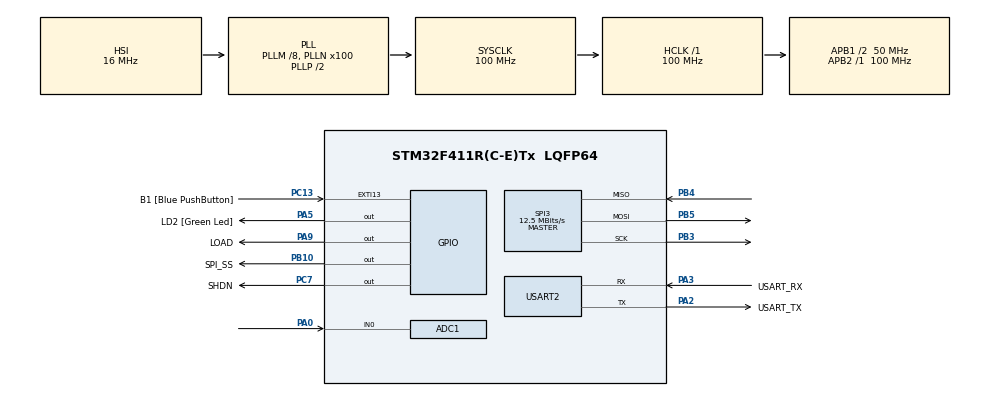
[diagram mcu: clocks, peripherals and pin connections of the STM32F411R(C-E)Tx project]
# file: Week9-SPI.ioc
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ADC1.Channel-2\#ChannelRegularConversion=ADC_CHANNEL_0
ADC1.DMAContinuousRequests=ENABLE
ADC1.ExternalTrigConv=ADC_EXTERNALTRIGCONV_T3_TRGO
ADC1.InjNumberOfConversion=0
ADC1.NbrOfConversionFlag=1
ADC1.Rank-2\#ChannelRegularConversion=1
ADC1.SamplingTime-2\#ChannelRegularConversion=ADC_SAMPLETIME_3CYCLES
ADC1.ScanConvMode=ENABLE
ADC1.master=1
Dma.ADC1.0.Direction=DMA_PERIPH_TO_MEMORY
Dma.ADC1.0.FIFOMode=DMA_FIFOMODE_DISABLE
Dma.ADC1.0.Instance=DMA2_Stream0
Dma.ADC1.0.MemDataAlignment=DMA_MDATAALIGN_HALFWORD
Dma.ADC1.0.MemInc=DMA_MINC_ENABLE
Dma.ADC1.0.Mode=DMA_CIRCULAR
Dma.ADC1.0.PeriphDataAlignment=DMA_PDATAALIGN_HALFWORD
Dma.ADC1.0.PeriphInc=DMA_PINC_DISABLE
Dma.ADC1.0.Priority=DMA_PRIORITY_LOW
Dma.Request0=ADC1
Mcu.Family=STM32F4
Mcu.Name=STM32F411R(C-E)Tx
Mcu.Package=LQFP64
NVIC.ADC_IRQn=true\:0\:0\:false\:false\:true\:true\:true
NVIC.DMA2_Stream0_IRQn=true\:0\:0\:false\:false\:true\:false\:true
NVIC.PriorityGroup=NVIC_PRIORITYGROUP_0
NVIC.SPI3_IRQn=true\:0\:0\:false\:false\:true\:true\:true
NVIC.TIM2_IRQn=true\:0\:0\:false\:false\:true\:true\:true
NVIC.USART2_IRQn=true\:0\:0\:false\:false\:true\:true\:true
PA0-WKUP.Signal=ADCx_IN0
PA13.GPIO_Label=TMS
PA13.Mode=Serial_Wire
PA13.Signal=SYS_JTMS-SWDIO
PA14.GPIO_Label=TCK
PA14.Mode=Serial_Wire
PA14.Signal=SYS_JTCK-SWCLK
PA2.GPIO_Label=USART_TX
PA2.Mode=Asynchronous
PA2.Signal=USART2_TX
PA3.GPIO_Label=USART_RX
PA3.Mode=Asynchronous
PA3.Signal=USART2_RX
PA5.GPIO_Label=LD2 [Green Led]
PA5.Signal=GPIO_Output
PA9.GPIO_Label=LOAD
PA9.PinState=GPIO_PIN_SET
PA9.Signal=GPIO_Output
PB10.GPIO_Label=SPI_SS
PB10.PinState=GPIO_PIN_SET
PB10.Signal=GPIO_Output
PB3.Mode=Full_Duplex_Master
PB3.Signal=SPI3_SCK
PB4.Mode=Full_Duplex_Master
PB4.Signal=SPI3_MISO
PB5.Mode=Full_Duplex_Master
PB5.Signal=SPI3_MOSI
PC13-ANTI_TAMP.GPIO_Label=B1 [Blue PushButton]
PC13-ANTI_TAMP.GPIO_ModeDefaultEXTI=GPIO_MODE_IT_FALLING
PC13-ANTI_TAMP.Signal=GPXTI13
PC14-OSC32_IN.Mode=LSE-External-Oscillator
PC14-OSC32_IN.Signal=RCC_OSC32_IN
PC15-OSC32_OUT.Mode=LSE-External-Oscillator
PC15-OSC32_OUT.Signal=RCC_OSC32_OUT
PC7.GPIO_Label=SHDN
PC7.PinState=GPIO_PIN_SET
PC7.Signal=GPIO_Output
PH0\ -\ OSC_IN.Mode=HSE-External-Clock-Source
PH0\ -\ OSC_IN.Signal=RCC_OSC_IN
PH1\ -\ OSC_OUT.Mode=HSE-External-Clock-Source
PH1\ -\ OSC_OUT.Signal=RCC_OSC_OUT
ProjectManager.HeapSize=0x200
ProjectManager.StackSize=0x400
ProjectManager.TargetToolchain=STM32CubeIDE
RCC.48MHZClocksFreq_Value=50000000
RCC.AHBFreq_Value=100000000
RCC.APB1CLKDivider=RCC_HCLK_DIV2
RCC.APB1Freq_Value=50000000
RCC.APB1TimFreq_Value=100000000
RCC.APB2Freq_Value=100000000
RCC.APB2TimFreq_Value=100000000
RCC.CortexFreq_Value=100000000
RCC.FLatency-AdvancedSettings=FLASH_LATENCY_3
RCC.HCLKFreq_Value=100000000
RCC.HSE_VALUE=8000000
RCC.HSI_VALUE=16000000
RCC.PLLM=8
RCC.PLLN=100
RCC.SYSCLKFreq_VALUE=100000000
RCC.SYSCLKSource=RCC_SYSCLKSOURCE_PLLCLK
RCC.VCOOutputFreq_Value=200000000
SH.ADCx_IN0.0=ADC1_IN0,IN0
SPI3.BaudRatePrescaler=SPI_BAUDRATEPRESCALER_4
SPI3.CalculateBaudRate=12.5 MBits/s
SPI3.DataSize=SPI_DATASIZE_16BIT
SPI3.Direction=SPI_DIRECTION_2LINES
SPI3.Mode=SPI_MODE_MASTER
SPI3.VirtualType=VM_MASTER
TIM2.Prescaler=99
TIM3.Period=100
TIM3.Prescaler=99
TIM3.TIM_MasterOutputTrigger=TIM_TRGO_UPDATE
USART2.VirtualMode=VM_ASYNC
VP_TIM2_VS_ClockSourceINT.Mode=Internal
VP_TIM3_VS_ClockSourceINT.Mode=Internal
board=NUCLEO-F411RE

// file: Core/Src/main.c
/* USER CODE BEGIN Header */
/**
 ******************************************************************************
 * @file           : main.c
 * @brief          : Main program body
 ******************************************************************************
 * @attention
 *
 * <h2><center>&copy; Copyright (c) 2021 STMicroelectronics.
 * All rights reserved.</center></h2>
 *
 * This software component is licensed by ST under BSD 3-Clause license,
 * the "License"; You may not use this file except in compliance with the
 * License. You may obtain a copy of the License at:
 *                        opensource.org/licenses/BSD-3-Clause
 *
 ******************************************************************************
 */
/* USER CODE END Header */
#include "main.h"

/* USER CODE BEGIN Includes */
#include <math.h>
#include <stdio.h>
#include <string.h>
/* USER CODE END Includes */

ADC_HandleTypeDef hadc1;
DMA_HandleTypeDef hdma_adc1;

SPI_HandleTypeDef hspi3;

TIM_HandleTypeDef htim2;
TIM_HandleTypeDef htim3;

UART_HandleTypeDef huart2;

/* USER CODE BEGIN PV */
char TxDataBuffer[32] = { 0 };
char RxDataBuffer[32] = { 0 };
int16_t Inputchar = 0;
int Waveform = 0;
float Wavefreq = 1;
float Wavehighvolt = 3.3;
float Wavelowvolt = 0.0;
int Waveduty = 50;
int slope = 0;
float VoltageOut = 0;
float VoltageIn = 0;
double Sineangle = 0;
uint16_t State = 0000;
uint16_t ADCin = 0;
uint64_t _micro = 0;
uint16_t dataOut = 0;
	uint8_t DACConfig = 0b0011;
char Menu_Start[] = "1: Sawtooth wave\r\n2: Sine wave\r\n3: Square wave\r\n";
char Menu_Sawtooth[] = "a: Freq\r\ns: Voltage\r\nd: Slope\r\nx: back\r\n";
char Menu_Sine[] = "a: Freq\r\ns: Voltage\r\nx: back\r\n";
char Menu_Square[] = "a: Freq\r\ns: Voltage\r\nd:Duty cyclex: back\r\n";
char Menu_Freq[] = "a:+0.1 Hz\r\ns:-0.1Hz\r\nx:back\r\n";
char Menu_Volt[] = "a:V High+0.1\r\ns:V high-0.1\r\nd:V Low+0.1\r\nf:V low-0.1\r\nx:back\r\n";
char Menu_Slope[] = "a:Slope Up\r\ns:Slope Down\r\nx:back\r\n";
char Menu_Duty[] = "a:Duty cycle +10%\r\ns:Duty cycle -10%\r\nx:back\r\n";
char Wave_Freq[20] = "";
char Wave_Volt[30] = "";
char Wave_Duty[30] = "";
char Wave_Slope[20] = "";
enum State_now
{
	State_Start = 0000,
	State_Menu = 0001,
	State_Sawtooth = 0010,
	State_Sine = 0011,
	State_Square = 0100,
	State_Freq = 0101,
	State_Volt = 0111,
	State_Slope = 0110,
	State_Duty = 1110,
	State_Sawtooth_Menu = 1010,
	State_Sine_Menu = 1000,
	State_Square_Menu = 1001,
	State_Freq_Menu = 1011,
	State_Volt_Menu = 1111,
	State_Slope_Menu = 1101,
	State_Duty_Menu = 1100,
};
/* USER CODE END PV */

void SystemClock_Config(void);
static void MX_GPIO_Init(void);
static void MX_DMA_Init(void);
static void MX_USART2_UART_Init(void);
static void MX_ADC1_Init(void);
static void MX_SPI3_Init(void);
static void MX_TIM3_Init(void);
static void MX_TIM2_Init(void);
/* USER CODE BEGIN PFP */
int16_t UARTRecieveIT();
void MCP4922SetOutput(uint8_t Config, uint16_t DACOutput);
uint64_t micros();
/* USER CODE END PFP */

int main(void)
{

  /* MCU Configuration--------------------------------------------------------*/

  /* Reset of all peripherals, Initializes the Flash interface and the Systick. */
  HAL_Init();

  /* Configure the system clock */
  SystemClock_Config();

  /* Initialize all configured peripherals */
  MX_GPIO_Init();
  MX_DMA_Init();
  MX_USART2_UART_Init();
  MX_ADC1_Init();
  MX_SPI3_Init();
  MX_TIM3_Init();
  MX_TIM2_Init();
  /* USER CODE BEGIN 2 */
	HAL_TIM_Base_Start(&htim3);
	HAL_TIM_Base_Start_IT(&htim2);
	HAL_ADC_Start_DMA(&hadc1, (uint32_t*) &ADCin, 1);

	HAL_GPIO_WritePin(LOAD_GPIO_Port, LOAD_Pin, GPIO_PIN_RESET);
  /* USER CODE END 2 */

  /* Infinite loop */
  /* USER CODE BEGIN WHILE */
	while (1)
	{
		HAL_UART_Receive_IT(&huart2, (uint8_t*)RxDataBuffer, 32);
		Inputchar = UARTRecieveIT();
		switch(State)
		{
			case State_Start: //Start state
				HAL_UART_Transmit(&huart2, (uint8_t*)Menu_Start, strlen(Menu_Start), 10);
				State = State_Menu;
				break;
			case State_Menu: //Choose menu
				if(Inputchar == '1')
				{
					State = State_Sawtooth;
				}
				else if(Inputchar == '2')
				{
					State = State_Sine;
				}
				else if(Inputchar == '3')
				{
					State = State_Square;
				}
				break;
			case State_Sawtooth: //Sawtooth menu
				HAL_UART_Transmit(&huart2, (uint8_t*)Menu_Sawtooth, strlen(Menu_Sawtooth), 10);
				State = State_Sawtooth_Menu;
				break;
			case State_Sawtooth_Menu: //Sawtooth control
				Waveform = 1;
				if(Inputchar == 'a')
				{
					State = State_Freq;
				}
				else if(Inputchar == 's')
				{
					State = State_Volt;
				}
				else if(Inputchar == 'd')
				{
					State = State_Slope;
				}
				else if(Inputchar == 'x')
				{
					State = State_Start;
				}
				break;
			case State_Sine: // Button menu
				HAL_UART_Transmit(&huart2, (uint8_t*)Menu_Sine, strlen(Menu_Sine), 10);
				State = State_Sine_Menu;
				break;
			case State_Sine_Menu: //Button status
				Waveform = 2;
				if(Inputchar == 'a')
				{
					State = State_Freq;
				}
				else if(Inputchar == 's')
				{
					State = State_Volt;
				}
				else if(Inputchar == 'x')
				{
					State = State_Start;
				}
				break;
			case State_Square:
				HAL_UART_Transmit(&huart2, (uint8_t*)Menu_Square, strlen(Menu_Square), 10);
				State = State_Square_Menu;
				break;
			case State_Square_Menu: //Button status
				Waveform = 3;
				if(Inputchar == 'a')
				{
					State = State_Freq;
				}
				else if(Inputchar == 's')
				{
					State = State_Volt;
				}
				else if(Inputchar == 'd')
				{
					State = State_Duty;
				}
				else if(Inputchar == 'x')
				{
				State = State_Start;
				}
				break;
			case State_Freq:
				HAL_UART_Transmit(&huart2, (uint8_t*)Menu_Freq, strlen(Menu_Freq), 10);
				State = State_Freq_Menu;
				break;
			case State_Freq_Menu:
				if(Inputchar == 'a')
				{
					Wavefreq += 0.1;
					if(Wavefreq > 10)
					{
						Wavefreq = 10;
					}
					sprintf(Wave_Freq,"Frequency: %f\r\n",Wavefreq);
					HAL_UART_Transmit(&huart2, (uint8_t*)Wave_Freq, strlen(Wave_Freq), 10);
					State = State_Freq;
				}
				else if(Inputchar == 's')
				{
					Wavefreq -= 0.1;
					if(Wavefreq <= 0)
					{
						Wavefreq = 0;
					}
					sprintf(Wave_Freq,"Frequency: %f\r\n",Wavefreq);
					HAL_UART_Transmit(&huart2, (uint8_t*)Wave_Freq, strlen(Wave_Freq), 10);
					State = State_Freq;
				}
				else if(Inputchar == 'x')
				{
					if(Waveform == 1)
					{
						State = State_Sawtooth;
					}
					else if(Waveform == 2)
					{
						State = State_Sine;
					}
					else if(Waveform == 3)
					{
						State = State_Square;
					}
				}
				break;
			case State_Volt:
				HAL_UART_Transmit(&huart2, (uint8_t*)Menu_Volt, strlen(Menu_Volt), 10);
				State = State_Volt_Menu;
				break;
			case State_Volt_Menu:
				if(Inputchar == 'a')
				{
					Wavehighvolt += 0.1;
					if(Wavehighvolt > 3.3)
					{
						Wavehighvolt = 3.3;
					}
					sprintf(Wave_Volt,"Hvolt:%fV | Lvolt:%fV\r\n",Wavehighvolt,Wavelowvolt);
					HAL_UART_Transmit(&huart2, (uint8_t*)Wave_Volt, strlen(Wave_Volt), 10);
					State = State_Volt;
				}
				else if(Inputchar == 's')
				{
					Wavehighvolt -= 0.1;
					if(Wavehighvolt <= 0)
					{
						Wavehighvolt = 0;
					}
					sprintf(Wave_Volt,"Hvolt:%fV | Lvolt:%fV\r\n",Wavehighvolt,Wavelowvolt);
					HAL_UART_Transmit(&huart2, (uint8_t*)Wave_Volt, strlen(Wave_Volt), 10);
					State = State_Volt;
				}
				else if(Inputchar == 'd')
				{
					Wavelowvolt += 0.1;
					if(Wavelowvolt > 3.3)
					{
						Wavelowvolt = 3.3;
					}
					sprintf(Wave_Volt,"Hvolt:%fV | Lvolt:%fV\r\n",Wavehighvolt,Wavelowvolt);
					HAL_UART_Transmit(&huart2, (uint8_t*)Wave_Volt, strlen(Wave_Volt), 10);
					State = State_Volt;
				}
				else if(Inputchar == 'f')
				{
					Wavelowvolt -= 0.1;
					if(Wavelowvolt <= 0)
					{
						Wavelowvolt = 0;
					}
					sprintf(Wave_Volt,"Hvolt:%fV | Lvolt:%fV\r\n",Wavehighvolt,Wavelowvolt);
					HAL_UART_Transmit(&huart2, (uint8_t*)Wave_Volt, strlen(Wave_Volt), 10);
					State = State_Volt;
				}
				else if(Inputchar == 'x')
				{
					if(Waveform == 1)
					{
						State = State_Sawtooth;
					}
					else if(Waveform == 2)
					{
						State = State_Sine;
					}
					else if(Waveform == 3)
					{
						State = State_Square;
					}
				}
				break;
			case State_Slope:
				HAL_UART_Transmit(&huart2, (uint8_t*)Menu_Slope, strlen(Menu_Slope), 10);
				State = State_Slope_Menu;
				break;
			case State_Slope_Menu:
				if(Inputchar == 'a')
				{
					slope = 0;
					sprintf(Wave_Slope,"Slope Up\r\n");
					HAL_UART_Transmit(&huart2, (uint8_t*)Wave_Slope, strlen(Wave_Slope), 10);
					State = State_Slope;
				}
				else if(Inputchar == 's')
				{
					slope = 1;
					sprintf(Wave_Slope,"Slope Down\r\n");
					HAL_UART_Transmit(&huart2, (uint8_t*)Wave_Slope, strlen(Wave_Slope), 10);
					State = State_Slope;
				}
				else if(Inputchar == 'x')
				{
					State = State_Sawtooth;
				}
				break;
			case State_Duty:
				HAL_UART_Transmit(&huart2, (uint8_t*)Menu_Duty, strlen(Menu_Duty), 10);
				State = State_Duty_Menu;
				break;
			case State_Duty_Menu:
				if(Inputchar == 'a')
				{
					Waveduty += 10;
					if(Waveduty > 100)
					{
						Waveduty = 100;
					}
					sprintf(Wave_Duty,"Duty Cycle:%d % \r\n",Waveduty);
					HAL_UART_Transmit(&huart2, (uint8_t*)Wave_Duty, strlen(Wave_Duty), 10);
					State = State_Duty;
				}
				else if(Inputchar == 's')
				{
					Waveduty -= 10;
					if(Waveduty <= 0)
					{
						Waveduty = 0;
					}
					sprintf(Wave_Duty,"Duty Cycle:%d % \r\n",Waveduty);
					HAL_UART_Transmit(&huart2, (uint8_t*)Wave_Duty, strlen(Wave_Duty), 10);
					State = State_Duty;
					}
				else if(Inputchar == 'x')
				{
					State = State_Square;
				}
				break;
		}

		static uint64_t timestamp = 0;
		static uint64_t timestamp_wave = 0;

		if(micros() - timestamp > 100)
		{
			if(Waveform == 1) //sawtooth
			{
				if(slope == 0) //up
				{
					if(micros() - timestamp_wave <= (1000000/Wavefreq))
					{
						VoltageOut = Wavelowvolt + ((Wavehighvolt - Wavelowvolt)*((micros()-timestamp_wave)/(1000000/Wavefreq)));
					}
					else if(micros() - timestamp_wave > (1000000/Wavefreq))
					{
						timestamp_wave = micros();
					}
				}
				else if(slope == 1) //down
				{
					if(micros() - timestamp_wave <= (1000000/Wavefreq))
					{
						VoltageOut = Wavehighvolt - ((Wavehighvolt - Wavelowvolt)*((micros()-timestamp_wave)/(1000000/Wavefreq)));
					}
					else if(micros() - timestamp_wave > (1000000/Wavefreq))
					{
						timestamp_wave = micros();
					}
				}
			}
			else if(Waveform == 2) //sine
			{
				if(micros() - timestamp_wave <= (1000000/Wavefreq))
				{
					Sineangle = ((micros() - timestamp_wave)/(1000000/Wavefreq))*2*3.14;
					VoltageOut = Wavelowvolt + ((sin(Sineangle)+1)*(Wavehighvolt-Wavelowvolt)/2);
				}
				else if(micros() - timestamp_wave > (1000000/Wavefreq))
				{
					timestamp_wave = micros();
				}
			}
			else if(Waveform == 3) //square
			{

				if(micros() - timestamp_wave <= (1000000/Wavefreq))
				{
					if(micros() - timestamp_wave <= (1000000/Wavefreq)*Waveduty/100)
					{
						VoltageOut = Wavehighvolt;
					}
					else if(micros() - timestamp_wave > (1000000/Wavefreq)*Waveduty/100)
					{
						VoltageOut = Wavelowvolt;
					}
				}
				else if(micros() - timestamp_wave > (1000000/Wavefreq))
				{
					timestamp_wave = micros();
				}
			}
			dataOut = (int)(VoltageOut*4096/3.3); //0-4095
			timestamp = micros();
			if (hspi3.State == HAL_SPI_STATE_READY && HAL_GPIO_ReadPin(SPI_SS_GPIO_Port, SPI_SS_Pin)== GPIO_PIN_SET)
			{
				MCP4922SetOutput(DACConfig, dataOut);
			}
		}

		VoltageIn = ADCin * 3.3 / 4096; //0 - 3.3

    /* USER CODE END WHILE */

	}
}

void SystemClock_Config(void)
{
  RCC_OscInitTypeDef RCC_OscInitStruct = {0};
  RCC_ClkInitTypeDef RCC_ClkInitStruct = {0};

  /** Configure the main internal regulator output voltage
  */
  __HAL_RCC_PWR_CLK_ENABLE();
  __HAL_PWR_VOLTAGESCALING_CONFIG(PWR_REGULATOR_VOLTAGE_SCALE1);
  /** Initializes the RCC Oscillators according to the specified parameters
  * in the RCC_OscInitTypeDef structure.
  */
  RCC_OscInitStruct.OscillatorType = RCC_OSCILLATORTYPE_HSI;
  RCC_OscInitStruct.HSIState = RCC_HSI_ON;
  RCC_OscInitStruct.HSICalibrationValue = RCC_HSICALIBRATION_DEFAULT;
  RCC_OscInitStruct.PLL.PLLState = RCC_PLL_ON;
  RCC_OscInitStruct.PLL.PLLSource = RCC_PLLSOURCE_HSI;
  RCC_OscInitStruct.PLL.PLLM = 8;
  RCC_OscInitStruct.PLL.PLLN = 100;
  RCC_OscInitStruct.PLL.PLLP = RCC_PLLP_DIV2;
  RCC_OscInitStruct.PLL.PLLQ = 4;
  if (HAL_RCC_OscConfig(&RCC_OscInitStruct) != HAL_OK)
  {
    Error_Handler();
  }
  /** Initializes the CPU, AHB and APB buses clocks
  */
  RCC_ClkInitStruct.ClockType = RCC_CLOCKTYPE_HCLK|RCC_CLOCKTYPE_SYSCLK
                              |RCC_CLOCKTYPE_PCLK1|RCC_CLOCKTYPE_PCLK2;
  RCC_ClkInitStruct.SYSCLKSource = RCC_SYSCLKSOURCE_PLLCLK;
  RCC_ClkInitStruct.AHBCLKDivider = RCC_SYSCLK_DIV1;
  RCC_ClkInitStruct.APB1CLKDivider = RCC_HCLK_DIV2;
  RCC_ClkInitStruct.APB2CLKDivider = RCC_HCLK_DIV1;

  if (HAL_RCC_ClockConfig(&RCC_ClkInitStruct, FLASH_LATENCY_3) != HAL_OK)
  {
    Error_Handler();
  }
}

static void MX_ADC1_Init(void)
{

  ADC_ChannelConfTypeDef sConfig = {0};

  /** Configure the global features of the ADC (Clock, Resolution, Data Alignment and number of conversion)
  */
  hadc1.Instance = ADC1;
  hadc1.Init.ClockPrescaler = ADC_CLOCK_SYNC_PCLK_DIV4;
  hadc1.Init.Resolution = ADC_RESOLUTION_12B;
  hadc1.Init.ScanConvMode = ENABLE;
  hadc1.Init.ContinuousConvMode = DISABLE;
  hadc1.Init.DiscontinuousConvMode = DISABLE;
  hadc1.Init.ExternalTrigConvEdge = ADC_EXTERNALTRIGCONVEDGE_RISING;
  hadc1.Init.ExternalTrigConv = ADC_EXTERNALTRIGCONV_T3_TRGO;
  hadc1.Init.DataAlign = ADC_DATAALIGN_RIGHT;
  hadc1.Init.NbrOfConversion = 1;
  hadc1.Init.DMAContinuousRequests = ENABLE;
  hadc1.Init.EOCSelection = ADC_EOC_SINGLE_CONV;
  if (HAL_ADC_Init(&hadc1) != HAL_OK)
  {
    Error_Handler();
  }
  /** Configure for the selected ADC regular channel its corresponding rank in the sequencer and its sample time.
  */
  sConfig.Channel = ADC_CHANNEL_0;
  sConfig.Rank = 1;
  sConfig.SamplingTime = ADC_SAMPLETIME_3CYCLES;
  if (HAL_ADC_ConfigChannel(&hadc1, &sConfig) != HAL_OK)
  {
    Error_Handler();
  }

}

static void MX_SPI3_Init(void)
{

  /* SPI3 parameter configuration*/
  hspi3.Instance = SPI3;
  hspi3.Init.Mode = SPI_MODE_MASTER;
  hspi3.Init.Direction = SPI_DIRECTION_2LINES;
  hspi3.Init.DataSize = SPI_DATASIZE_16BIT;
  hspi3.Init.CLKPolarity = SPI_POLARITY_LOW;
  hspi3.Init.CLKPhase = SPI_PHASE_1EDGE;
  hspi3.Init.NSS = SPI_NSS_SOFT;
  hspi3.Init.BaudRatePrescaler = SPI_BAUDRATEPRESCALER_4;
  hspi3.Init.FirstBit = SPI_FIRSTBIT_MSB;
  hspi3.Init.TIMode = SPI_TIMODE_DISABLE;
  hspi3.Init.CRCCalculation = SPI_CRCCALCULATION_DISABLE;
  hspi3.Init.CRCPolynomial = 10;
  if (HAL_SPI_Init(&hspi3) != HAL_OK)
  {
    Error_Handler();
  }

}

static void MX_TIM2_Init(void)
{

  TIM_ClockConfigTypeDef sClockSourceConfig = {0};
  TIM_MasterConfigTypeDef sMasterConfig = {0};

  htim2.Instance = TIM2;
  htim2.Init.Prescaler = 99;
  htim2.Init.CounterMode = TIM_COUNTERMODE_UP;
  htim2.Init.Period = 4294967295;
  htim2.Init.ClockDivision = TIM_CLOCKDIVISION_DIV1;
  htim2.Init.AutoReloadPreload = TIM_AUTORELOAD_PRELOAD_DISABLE;
  if (HAL_TIM_Base_Init(&htim2) != HAL_OK)
  {
    Error_Handler();
  }
  sClockSourceConfig.ClockSource = TIM_CLOCKSOURCE_INTERNAL;
  if (HAL_TIM_ConfigClockSource(&htim2, &sClockSourceConfig) != HAL_OK)
  {
    Error_Handler();
  }
  sMasterConfig.MasterOutputTrigger = TIM_TRGO_RESET;
  sMasterConfig.MasterSlaveMode = TIM_MASTERSLAVEMODE_DISABLE;
  if (HAL_TIMEx_MasterConfigSynchronization(&htim2, &sMasterConfig) != HAL_OK)
  {
    Error_Handler();
  }

}

static void MX_TIM3_Init(void)
{

  TIM_ClockConfigTypeDef sClockSourceConfig = {0};
  TIM_MasterConfigTypeDef sMasterConfig = {0};

  htim3.Instance = TIM3;
  htim3.Init.Prescaler = 99;
  htim3.Init.CounterMode = TIM_COUNTERMODE_UP;
  htim3.Init.Period = 100;
  htim3.Init.ClockDivision = TIM_CLOCKDIVISION_DIV1;
  htim3.Init.AutoReloadPreload = TIM_AUTORELOAD_PRELOAD_DISABLE;
  if (HAL_TIM_Base_Init(&htim3) != HAL_OK)
  {
    Error_Handler();
  }
  sClockSourceConfig.ClockSource = TIM_CLOCKSOURCE_INTERNAL;
  if (HAL_TIM_ConfigClockSource(&htim3, &sClockSourceConfig) != HAL_OK)
  {
    Error_Handler();
  }
  sMasterConfig.MasterOutputTrigger = TIM_TRGO_UPDATE;
  sMasterConfig.MasterSlaveMode = TIM_MASTERSLAVEMODE_DISABLE;
  if (HAL_TIMEx_MasterConfigSynchronization(&htim3, &sMasterConfig) != HAL_OK)
  {
    Error_Handler();
  }

}

static void MX_USART2_UART_Init(void)
{

  huart2.Instance = USART2;
  huart2.Init.BaudRate = 115200;
  huart2.Init.WordLength = UART_WORDLENGTH_8B;
  huart2.Init.StopBits = UART_STOPBITS_1;
  huart2.Init.Parity = UART_PARITY_NONE;
  huart2.Init.Mode = UART_MODE_TX_RX;
  huart2.Init.HwFlowCtl = UART_HWCONTROL_NONE;
  huart2.Init.OverSampling = UART_OVERSAMPLING_16;
  if (HAL_UART_Init(&huart2) != HAL_OK)
  {
    Error_Handler();
  }

}

static void MX_DMA_Init(void)
{

  /* DMA controller clock enable */
  __HAL_RCC_DMA2_CLK_ENABLE();

  /* DMA interrupt init */
  /* DMA2_Stream0_IRQn interrupt configuration */
  HAL_NVIC_SetPriority(DMA2_Stream0_IRQn, 0, 0);
  HAL_NVIC_EnableIRQ(DMA2_Stream0_IRQn);

}

static void MX_GPIO_Init(void)
{
  GPIO_InitTypeDef GPIO_InitStruct = {0};

  /* GPIO Ports Clock Enable */
  __HAL_RCC_GPIOC_CLK_ENABLE();
  __HAL_RCC_GPIOH_CLK_ENABLE();
  __HAL_RCC_GPIOA_CLK_ENABLE();
  __HAL_RCC_GPIOB_CLK_ENABLE();

  /*Configure GPIO pin Output Level */
  HAL_GPIO_WritePin(LD2_GPIO_Port, LD2_Pin, GPIO_PIN_RESET);

  /*Configure GPIO pin Output Level */
  HAL_GPIO_WritePin(SPI_SS_GPIO_Port, SPI_SS_Pin, GPIO_PIN_SET);

  /*Configure GPIO pin Output Level */
  HAL_GPIO_WritePin(SHDN_GPIO_Port, SHDN_Pin, GPIO_PIN_SET);

  /*Configure GPIO pin Output Level */
  HAL_GPIO_WritePin(LOAD_GPIO_Port, LOAD_Pin, GPIO_PIN_SET);

  /*Configure GPIO pin : B1_Pin */
  GPIO_InitStruct.Pin = B1_Pin;
  GPIO_InitStruct.Mode = GPIO_MODE_IT_FALLING;
  GPIO_InitStruct.Pull = GPIO_NOPULL;
  HAL_GPIO_Init(B1_GPIO_Port, &GPIO_InitStruct);

  /*Configure GPIO pins : LD2_Pin LOAD_Pin */
  GPIO_InitStruct.Pin = LD2_Pin|LOAD_Pin;
  GPIO_InitStruct.Mode = GPIO_MODE_OUTPUT_PP;
  GPIO_InitStruct.Pull = GPIO_NOPULL;
  GPIO_InitStruct.Speed = GPIO_SPEED_FREQ_LOW;
  HAL_GPIO_Init(GPIOA, &GPIO_InitStruct);

  /*Configure GPIO pin : SPI_SS_Pin */
  GPIO_InitStruct.Pin = SPI_SS_Pin;
  GPIO_InitStruct.Mode = GPIO_MODE_OUTPUT_PP;
  GPIO_InitStruct.Pull = GPIO_NOPULL;
  GPIO_InitStruct.Speed = GPIO_SPEED_FREQ_LOW;
  HAL_GPIO_Init(SPI_SS_GPIO_Port, &GPIO_InitStruct);

  /*Configure GPIO pin : SHDN_Pin */
  GPIO_InitStruct.Pin = SHDN_Pin;
  GPIO_InitStruct.Mode = GPIO_MODE_OUTPUT_PP;
  GPIO_InitStruct.Pull = GPIO_NOPULL;
  GPIO_InitStruct.Speed = GPIO_SPEED_FREQ_LOW;
  HAL_GPIO_Init(SHDN_GPIO_Port, &GPIO_InitStruct);

}

/* USER CODE BEGIN 4 */
int16_t UARTRecieveIT()
{
	static uint32_t dataPos =0;
	int16_t data=-1;
	if(huart2.RxXferSize - huart2.RxXferCount!=dataPos)
	{
		data=RxDataBuffer[dataPos];
		dataPos= (dataPos+1)%huart2.RxXferSize;
	}
	return data;
}

void MCP4922SetOutput(uint8_t Config, uint16_t DACOutput)
{
	uint32_t OutputPacket = (DACOutput & 0x0fff) | ((Config & 0xf) << 12);
	HAL_GPIO_WritePin(SPI_SS_GPIO_Port, SPI_SS_Pin, GPIO_PIN_RESET);
	HAL_SPI_Transmit_IT(&hspi3, &OutputPacket, 1);
}

void HAL_SPI_TxCpltCallback(SPI_HandleTypeDef *hspi)
{
	if (hspi == &hspi3)
	{
		HAL_GPIO_WritePin(SPI_SS_GPIO_Port, SPI_SS_Pin, GPIO_PIN_SET);
	}
}

void HAL_TIM_PeriodElapsedCallback(TIM_HandleTypeDef *htim)
{
	if (htim == &htim2)
	{
		_micro += 4294967295;
	}
}

inline uint64_t micros()
{
	return htim2.Instance->CNT + _micro;
}
/* USER CODE END 4 */

void Error_Handler(void)
{
	__disable_irq();
	while (1)
	{
	}
}

/************************ (C) COPYRIGHT STMicroelectronics *****END OF FILE****/
